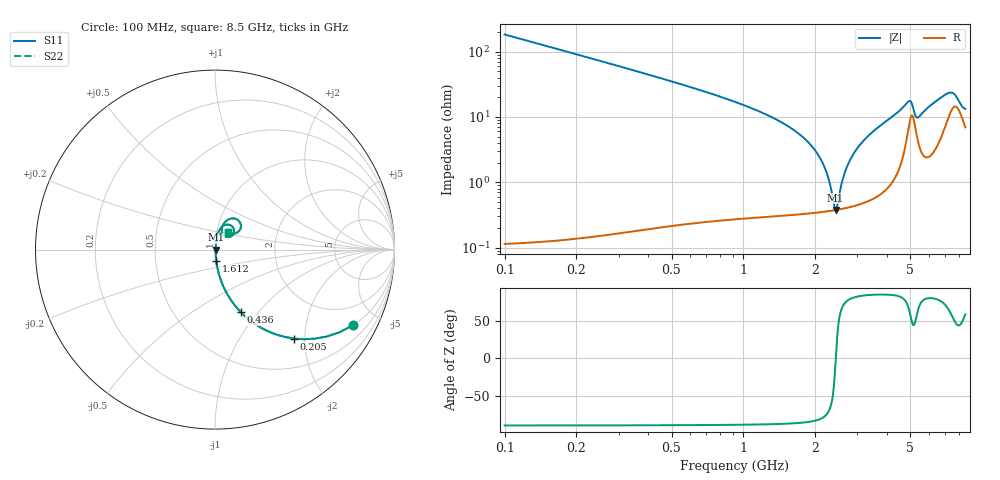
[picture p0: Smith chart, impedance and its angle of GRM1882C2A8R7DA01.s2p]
!Murata Part Number: GRM1882C2A8R7DA01
!These Parameters are Measured in Series Mode Connection
!Data Generated on Mar 30, 2021
!  o--ll--o
!Port1  Port2
!  o------o
!Operation Temp=25[degC], DC Bias Voltage=0[V]
!Freq. Start=100[MHz] Stop=9[GHz] 401[Steps]
# Hz S RI R 50
!Freq.(Hz) S11(Real) S11(Imag) S21(Real) S21(Imag) S12(Real) S12(Imag) S22(Real) S22(Imag)
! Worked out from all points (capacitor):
!   401 points, 100 MHz to 8.5 GHz, reference 50 ohm
!   read as one part in series: C = 8.71 pF near 142 MHz
!   lowest |Z| = 378 mohm at 2.431 GHz (marker M1)
!   series resonance near 2.437 GHz, so ESL is about 490 pH
!   S11 on the Smith chart (normalised r, x): 100 MHz: 1.00, -3.65; 205 MHz: 1.00, -1.77; 436 MHz: 1.00, -0.81; 1.612 GHz: 1.01, -0.13; 8.5 GHz: 1.14, +0.23
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1e8  0.7691 -0.4211  0.2309 0.4211  0.2309 0.4211  0.7691 -0.4211
2.05e8  0.4396 -0.4956  0.5604 0.4956  0.5604 0.4956  0.4396 -0.4956
3.1e8  0.2523 -0.4329  0.7477 0.4329  0.7477 0.4329  0.2523 -0.4329
4.36e8  0.1425 -0.3471  0.8575 0.3471  0.8575 0.3471  0.1425 -0.3471
8.56e8  0.0363 -0.18  0.9637 0.18  0.9637 0.18  0.0363 -0.18
1.507e9  0.0087 -0.0746  0.9913 0.0746  0.9913 0.0746  0.0087 -0.0746
1.612e9  0.00724 -0.0637  0.9928 0.0637  0.9928 0.0637  0.00724 -0.0637
1.906e9  0.00475 -0.0375  0.9953 0.0375  0.9953 0.0375  0.00475 -0.0375
2.116e9  0.00395 -0.0215  0.9961 0.0215  0.9961 0.0215  0.00395 -0.0215
2.263e9  0.00373 -0.0113  0.9963 0.0113  0.9963 0.0113  0.00373 -0.0113
2.431e9  0.00375 -0.000361  0.9962 0.000361  0.9962 0.000361  0.00375 -0.000361
2.473e9  0.0038 0.00226  0.9962 -0.00226  0.9962 -0.00226  0.0038 0.00226
2.662e9  0.00418 0.0137  0.9958 -0.0137  0.9958 -0.0137  0.00418 0.0137
2.914e9  0.00511 0.028  0.9949 -0.028  0.9949 -0.028  0.00511 0.028
3.418e9  0.00838 0.055  0.9916 -0.055  0.9916 -0.055  0.00838 0.055
4.3e9  0.0224 0.1041  0.9776 -0.1041  0.9776 -0.1041  0.0224 0.1041
4.93e9  0.0875 0.135  0.9125 -0.135  0.9125 -0.135  0.0875 0.135
5.308e9  0.0571 0.0734  0.9429 -0.0734  0.9429 -0.0734  0.0571 0.0734
5.707e9  0.0375 0.1122  0.9625 -0.1122  0.9625 -0.1122  0.0375 0.1122
7.114e9  0.1111 0.1725  0.8889 -0.1725  0.8889 -0.1725  0.1111 0.1725
7.576e9  0.1443 0.1359  0.8557 -0.1359  0.8557 -0.1359  0.1443 0.1359
8.5e9  0.0752 0.0979  0.9248 -0.0979  0.9248 -0.0979  0.0752 0.0979
